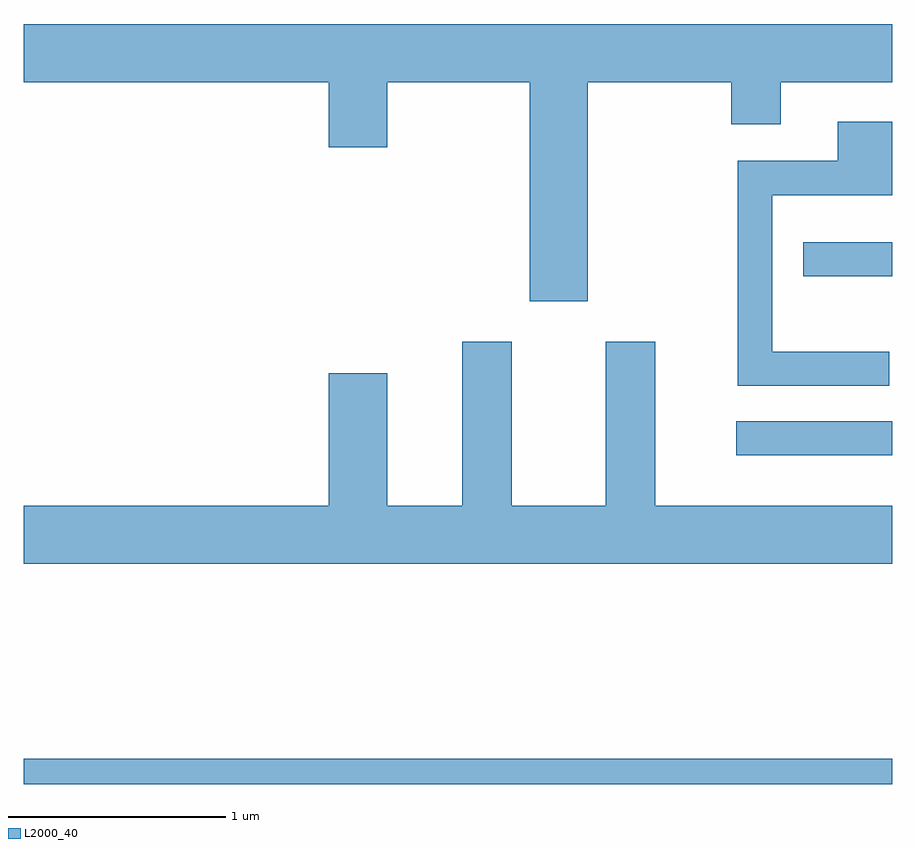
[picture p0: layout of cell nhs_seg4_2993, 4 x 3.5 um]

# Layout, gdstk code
import gdstk
lib = gdstk.Library(unit=1e-6, precision=1e-09)
def R(c, l, rs):  # rectangles x0, y0, x1, y1
    for r in rs: c.add(gdstk.rectangle(r[:2], r[2:], *l))
def P(c, l, *ps):  # polygons
    for p in ps: c.add(gdstk.Polygon(p, *l))
L2000_40 = (2000, 40)

nhs_seg4_2993 = lib.new_cell('nhs_seg4_2993')
R(nhs_seg4_2993, L2000_40, [(273.611,1255.982,277.611,1256.099), (276.893,1257.496,277.611,1257.654), (277.203,1258.321,277.611,1258.479)])
P(nhs_seg4_2993, L2000_40, [(276.209,1259.216),(276.871,1259.216),(276.871,1259.021),(277.099,1259.021),(277.099,1259.216),(277.611,1259.216),(277.611,1259.484),(273.611,1259.484),(273.611,1259.216),(275.016,1259.216),(275.016,1258.916),(275.284,1258.916),(275.284,1259.216),(275.941,1259.216),(275.941,1258.206),(276.209,1258.206)],
  [(277.598,1257.974),(277.059,1257.974),(277.059,1258.696),(277.611,1258.696),(277.611,1259.034),(277.361,1259.034),(277.361,1258.854),(276.901,1258.854),(276.901,1257.816),(277.598,1257.816)],
  [(277.611,1257.264),(276.519,1257.264),(276.519,1258.019),(276.291,1258.019),(276.291,1257.264),(275.859,1257.264),(275.859,1258.019),(275.631,1258.019),(275.631,1257.264),(275.284,1257.264),(275.284,1257.874),(275.016,1257.874),(275.016,1257.264),(273.611,1257.264),(273.611,1256.996),(277.611,1256.996)])

lib.write_gds('nhs_seg4_2993.gds')
